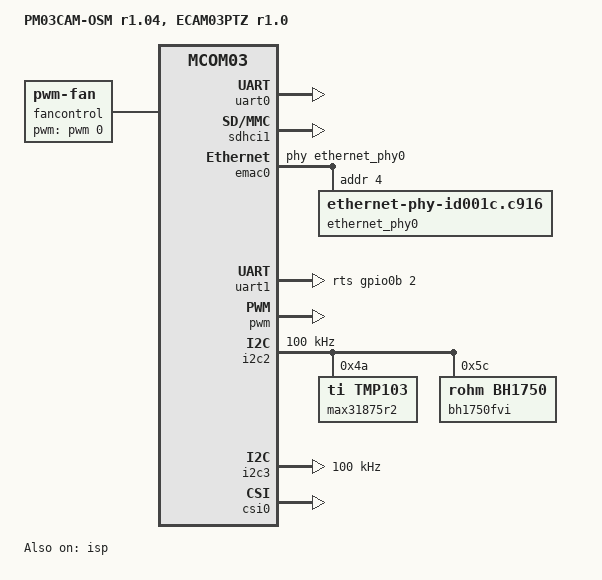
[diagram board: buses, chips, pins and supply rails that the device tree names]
// SPDX-License-Identifier: GPL-2.0+
/*
 * Copyright 2023 RnD Center "ELVEES", JSC
 */

/dts-v1/;

#include "mcom03-pm03camosm-r1.04.dtsi"

/ {
	model = "PM03CAM-OSM r1.04, ECAM03PTZ r1.0";
	compatible = "elvees,pm03camosm-r1.04-ecam03ptz-r1.0",
		     "elvees,pm03camosm-ecam03ptz",
		     "elvees,ecam03ptz-r1.0",
		     "elvees,ecam03ptz",
		     "elvees,pm03camosm-r1.04",
		     "elvees,pm03camosm",
		     "elvees,mcom03";

	fancontrol: pwm-fan {
		compatible = "pwm-fan";
		pwms = <&pwm 0 10000000 0>;

		#cooling-cells = <2>;
		cooling-levels = <0 102 180 230>;
	};
};

&gpio0a {
	gpio-line-names = "ProgGPIO_SW", "IRIS_ZERO_POS",
		"ZOOM1_ZERO_POS", "ZOOM2_ZERO_POS",
		"H_ZERO_POS", "V_ZERO_POZ",
		"CASE_OPEN_INT", "ALARM_IN1";
};

&gpio0b {
	gpio-line-names = "IR_LASER_UART_RX", "IR_LASER_UART_TX",
		"RS-485 UART RE/DE", "",
		"V_DIAG", "RS485_UART_RX",
		"RS485_UART_TX", "";
};

&gpio0c {
	gpio-line-names = "H_ENN", "H_V_MOTOR_SEL",
		"H_INDX", "H_STEP",
		"H_DIR", "V_ENN",
		"V_STEP", "V_INDX";
};

&gpio0d {
	gpio-line-names = "H_V_MOTOR_UART_TX", "H_V_MOTOR_UART_RX",
		"V_DIR", "ZOOM1_ZOOM2_VD_SYNC",
		"ALARM_OUT", "CSI_IMX_RST",
		"CTRL", "";
};

&gpio1a {
	gpio-line-names = "I2C_ALC_SCL", "I2C_ALC_SDA",
		"I2C_AMBLIGH_SCL", "I2C_AMBLIGH_SDA",
		"I2C_IMX_SCL", "I2C_IMX_SDA",
		"ALARM_IN2", "INT/PMEB";
};

&gpio1b {
	gpio-line-names = " ", " ", " ", " ",
		"", "RST_ZOOM_FOCUS_IRIS_IR",
		"DBG_UART_TX", "DBG_UART_RX";
};

&gpio1c {
	gpio-line-names = "SPI_ZOOM_IRIS_FOCUS_IR", " ",
		" ", "CS_ZOOM1_ZOOM2_IR1",
		"CS_IRIS_FOCUS_IR2", "", "", "";
};

&gpio1d {
	gpio-line-names = "IRIS_FOCUS_VD_SYNC", "H_DIAG",
		"FAN_CTRL", "IR_LED_PWM",
		"", "", "", "";
};

&uart0 {
	status = "okay";
};

&sdhci1 {
	status = "okay";

	/* Disable 1.8V support
	 * Disable SDR50, SDR104 and DDR50 support
	 */
	sdhci-caps-mask = <0x7 0x4000000>;
	sdhci-caps = <0x0 0x0>;

	/* SDIO WP is not routed */
	disable-wp;
};

&emac0 {
	status = "okay";

	phy-handle = <&ethernet_phy0>;

	ethernet_phy0: ethernet-phy@0 {
		compatible = "ethernet-phy-id001c.c916", "ethernet-phy-ieee802.3-c22";
		reg = <0x4>;
	};
};

&uart1 {
	status = "okay";
	rts-gpios = <&gpio0b 2 GPIO_ACTIVE_HIGH>;
	linux,rs485-enabled-at-boot-time;
	snps,rs485-disable-hw-support;
};

&pwm {
		status = "okay";
		elvees,output-channel = <0 0 0 0>;
		elvees,state-on-disable = <1 0 0 0>;

		pinctrl-names = "default";
		pinctrl-0 = <&pwm_oena0_mux>;
};

/*
 * Upon reaching the trip point the thermal subsystem driver enables the fans.
 *
 * Thermal zones can be enabled/disabled via sysfs by writing said state into
 * the corresponding /sys/class/thermal/thermal_zoneX/mode file.
 */
&cpu_thermal {
	cooling_maps: cooling-maps {
		map0 {
			trip = <&cpu_alert0>;
			cooling-device = <&fancontrol
					  THERMAL_NO_LIMIT
					  THERMAL_NO_LIMIT>;
		};
	};
};

&i2c2 {
	status = "okay";
	clock-frequency = <100000>;

	max31875r2: temperature-sensor@4a {
		compatible = "ti,tmp103";
		reg = <0x4a>;
	};

	bh1750fvi: light-sensor@5c {
		compatible = "rohm,bh1750";
		reg = <0x5c>;
	};
};

&i2c3 {
	clock-frequency = <100000>;
	status = "okay";
};

&isp {
	status = "okay";
};

&csi0 {
	status = "okay";
};
